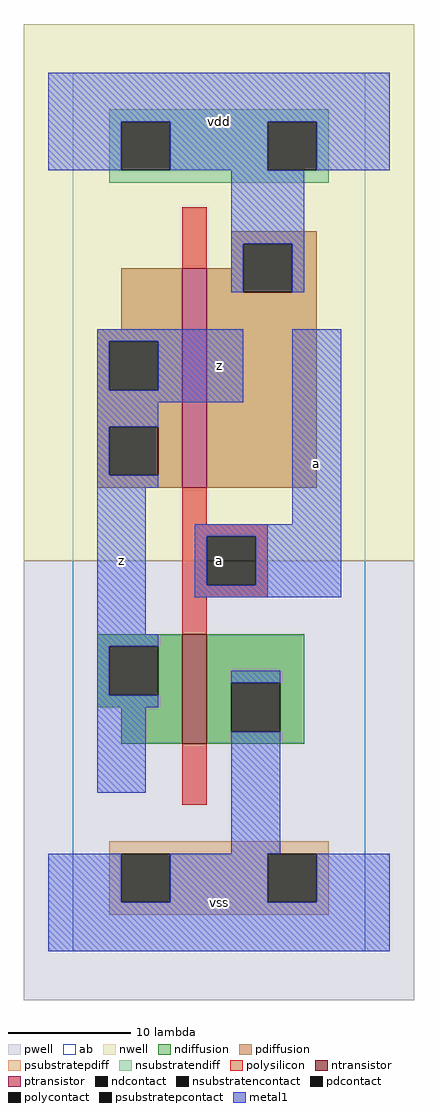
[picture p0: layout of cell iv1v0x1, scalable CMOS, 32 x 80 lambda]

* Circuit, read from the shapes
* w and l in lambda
.subckt iv1v0x1 a vdd vss z
M1 vss a z vss nfet w=9 l=2
M2 vdd a z vdd pfet w=18 l=2
.ends

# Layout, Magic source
magic
tech scmos
<< ab >>
rect 0 0 24 72
<< pwell >>
rect -4 -4 28 32
<< nwell >>
rect -4 32 28 76
<< polysilicon >>
rect 9 56 11 61
rect 9 35 11 38
rect 9 34 16 35
rect 9 30 11 34
rect 15 30 16 34
rect 9 29 16 30
rect 9 26 11 29
rect 9 12 11 17
<< ndiffusion >>
rect 2 25 9 26
rect 2 21 3 25
rect 7 21 9 25
rect 2 20 9 21
rect 4 17 9 20
rect 11 22 19 26
rect 11 18 13 22
rect 17 18 19 22
rect 11 17 19 18
<< pdiffusion >>
rect 13 58 20 59
rect 13 56 14 58
rect 4 51 9 56
rect 2 50 9 51
rect 2 46 3 50
rect 7 46 9 50
rect 2 43 9 46
rect 2 39 3 43
rect 7 39 9 43
rect 2 38 9 39
rect 11 54 14 56
rect 18 54 20 58
rect 11 38 20 54
<< metal1 >>
rect -2 68 26 72
rect -2 64 4 68
rect 8 64 16 68
rect 20 64 26 68
rect 13 58 19 64
rect 13 54 14 58
rect 18 54 19 58
rect 2 50 14 51
rect 2 46 3 50
rect 7 46 14 50
rect 2 45 14 46
rect 2 43 7 45
rect 2 39 3 43
rect 2 38 7 39
rect 2 26 6 38
rect 18 35 22 51
rect 10 34 22 35
rect 10 30 11 34
rect 15 30 22 34
rect 10 29 22 30
rect 2 25 7 26
rect 2 21 3 25
rect 2 20 7 21
rect 13 22 17 23
rect 2 13 6 20
rect 13 8 17 18
rect -2 4 4 8
rect 8 4 16 8
rect 20 4 26 8
rect -2 0 26 4
<< ntransistor >>
rect 9 17 11 26
<< ptransistor >>
rect 9 38 11 56
<< polycontact >>
rect 11 30 15 34
<< ndcontact >>
rect 3 21 7 25
rect 13 18 17 22
<< pdcontact >>
rect 3 46 7 50
rect 3 39 7 43
rect 14 54 18 58
<< psubstratepcontact >>
rect 4 4 8 8
rect 16 4 20 8
<< nsubstratencontact >>
rect 4 64 8 68
rect 16 64 20 68
<< psubstratepdiff >>
rect 3 8 21 9
rect 3 4 4 8
rect 8 4 16 8
rect 20 4 21 8
rect 3 3 21 4
<< nsubstratendiff >>
rect 3 68 21 69
rect 3 64 4 68
rect 8 64 16 68
rect 20 64 21 68
rect 3 63 21 64
<< labels >>
rlabel metal1 4 32 4 32 6 z
rlabel metal1 12 4 12 4 6 vss
rlabel polycontact 12 32 12 32 6 a
rlabel metal1 12 48 12 48 6 z
rlabel metal1 12 68 12 68 6 vdd
rlabel metal1 20 40 20 40 6 a
<< end >>
